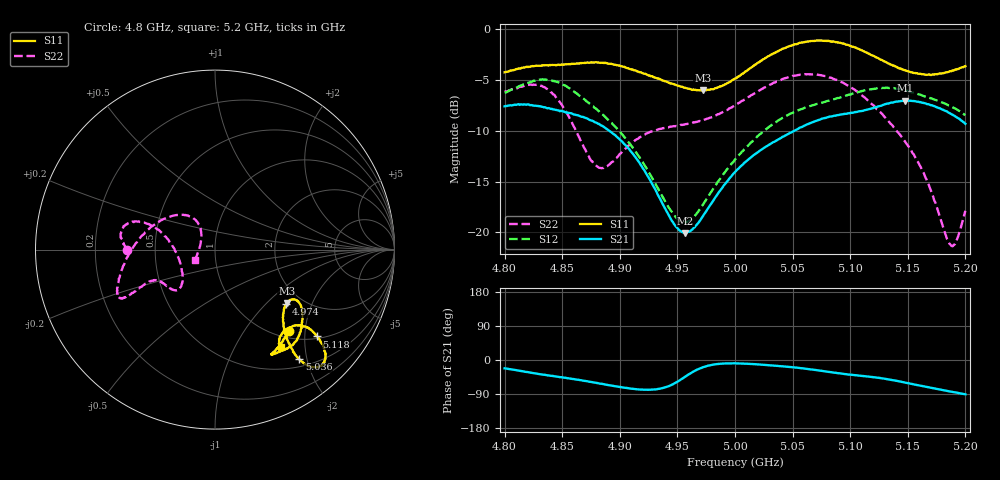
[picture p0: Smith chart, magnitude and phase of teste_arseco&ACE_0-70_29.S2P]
! Network Analyzer HP8722D
! Hewlett-Packard
! Data name: Linha & Wilkinson
! Saver's name: Rodrigo Anjos
! Comments: Teste da utilização de aquisição
! continua pelo VNA HP8722D
! Time and date: 8/5/2025 13:00
!  Frequency  S11  S21  S12  S22
# HZ  S  MA R 50
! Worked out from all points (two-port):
!   401 points, 4.8 GHz to 5.2 GHz, reference 50 ohm
!   highest |S21| = -7.05 dB at 5.148 GHz (marker M1); lowest = -20.1 dB at 4.957 GHz (marker M2)
!   |S21| within 3 dB of the highest: start of sweep to 4.891 GHz; 5.051 GHz to end of sweep
!   lowest |S11| = -6.0 dB at 4.972 GHz (marker M3), VSWR 2.99, Z = 83.4 - j66.4 ohm
!   |S11| at or under -10 dB: nowhere
!   |S22| runs from -21.3 to -4.4 dB; largest |S21 - S12| = 0.95
!   S11 on the Smith chart (normalised r, x): 4.8 GHz: 1.13, -1.64; 4.974 GHz: 1.64, -1.33; 5.036 GHz: 0.62, -1.87; 5.118 GHz: 1.05, -2.30; 5.2 GHz: 0.82, -1.57
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4.8e9  0.6122 -47.7  0.4169 -22.0  0.4864 -175.8  0.4925 -180.0
4.821e9  0.6517 -58.5  0.4258 -32.6  0.5435 176.9  0.5313 171.5
4.837e9  0.6627 -61.6  0.4075 -40.5  0.562 167.5  0.5073 163.2
4.851e9  0.6679 -59.7  0.3934 -46.4  0.5308 158.6  0.4106 159.2
4.867e9  0.6797 -55.0  0.3699 -53.8  0.4607 150.7  0.276 166.6
4.885e9  0.6819 -48.8  0.3334 -63.1  0.3801 144.5  0.2073 -160.6
4.909e9  0.6345 -40.5  0.2526 -75.2  0.2713 137.8  0.2722 -133.3
4.934e9  0.5689 -33.0  0.1495 -76.2  0.1616 141.1  0.3222 -135.5
4.957e9  0.5129 -32.6  0.09933 -43.7  0.1119 174.7  0.3405 -144.9
4.972e9  0.499 -36.9  0.1198 -19.1  0.1366 -161.0  0.3562 -150.7
4.974e9  0.4998 -37.5  0.1247 -17.3  0.1421 -159.1  0.3593 -151.1
5e9  0.5708 -48.0  0.1979 -8.8  0.2284 -146.8  0.4205 -153.8
5.036e9  0.7716 -52.4  0.2832 -15.4  0.3499 -147.6  0.5523 -152.1
5.067e9  0.873 -48.2  0.3477 -25.1  0.4215 -154.4  0.598 -154.9
5.095e9  0.8445 -43.2  0.3824 -37.0  0.4673 -162.2  0.5385 -166.5
5.118e9  0.7456 -40.5  0.4052 -44.5  0.5056 -173.2  0.4312 173.4
5.134e9  0.6744 -40.3  0.4317 -51.4  0.5125 177.2  0.3483 153.4
5.148e9  0.6269 -42.5  0.4442 -59.8  0.4991 169.4  0.2776 135.9
5.166e9  0.5953 -48.4  0.4291 -71.0  0.4642 161.2  0.1832 122.6
5.187e9  0.6201 -54.8  0.3839 -83.3  0.4181 153.8  0.08708 158.8
5.192e9  0.6324 -55.8  0.369 -86.0  0.4044 152.1  0.09032 -177.9
5.2e9  0.6562 -55.7  0.342 -90.5  0.3775 149.5  0.1279 -152.1
